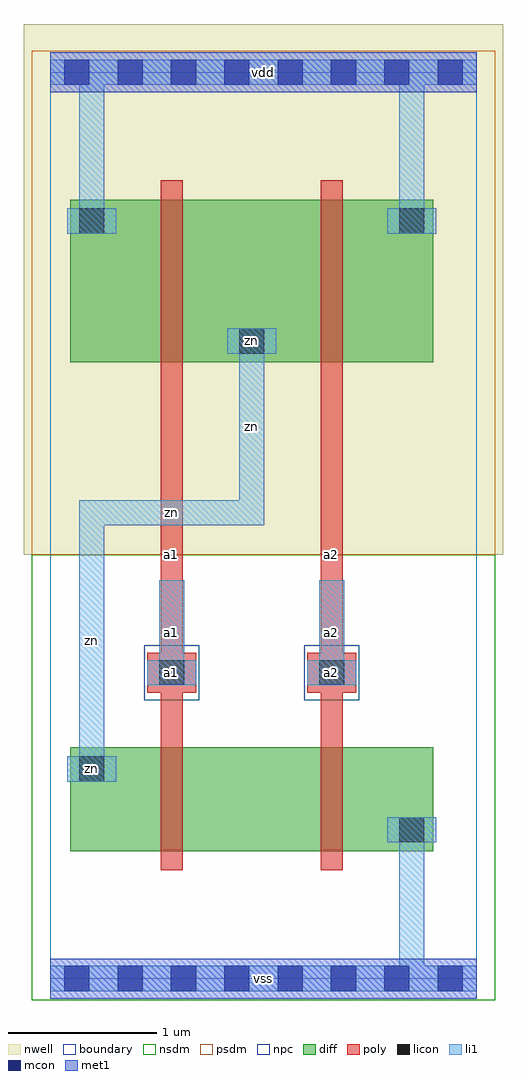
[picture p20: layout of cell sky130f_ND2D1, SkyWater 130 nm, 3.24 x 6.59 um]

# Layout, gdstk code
import gdstk
lib = gdstk.Library(unit=1e-6, precision=1e-09)
def R(c, l, rs):  # rectangles x0, y0, x1, y1
    for r in rs: c.add(gdstk.rectangle(r[:2], r[2:], *l))
def A(c, l, x, y, w, h, nx, ny, dx, dy):  # array of equal rectangles
    R(c, l, [(x+i*dx, y+j*dy, x+i*dx+w, y+j*dy+h) for i in range(nx) for j in range(ny)])
L0_0 = (0, 0)
nwell = (64, 20)
diff = (65, 20)
poly = (66, 20)
licon = (66, 44)
li1 = (67, 20)
mcon = (67, 44)
met1 = (68, 20)
nsdm = (93, 44)
psdm = (94, 20)
npc = (95, 20)
boundary = (235, 4)

sky130f_nd2d1 = lib.new_cell('sky130f_ND2D1')
R(sky130f_nd2d1, nwell, [(-0.18,2.86,3.06,6.445)])
R(sky130f_nd2d1, diff, [(0.135,0.86,1.505,1.56), (1.215,0.86,2.585,1.56), (2.295,0.86,2.585,1.15), (0.135,1.27,0.425,1.56), (0.135,4.16,1.505,5.26), (1.215,4.16,2.585,5.26), (1.215,4.16,1.505,4.45), (0.135,4.97,0.425,5.26), (2.295,4.97,2.585,5.26)])
R(sky130f_nd2d1, poly, [(0.745,0.73,0.895,1.69), (1.825,0.73,1.975,1.69), (0.745,1.34,0.895,4.38), (1.825,1.34,1.975,4.38), (0.655,1.93,0.985,2.2), (1.735,1.93,2.065,2.2), (0.745,4.03,0.895,5.39), (1.825,4.03,1.975,5.39)])
R(sky130f_nd2d1, licon, [(2.355,0.92,2.525,1.09), (0.195,1.33,0.365,1.5), (0.735,1.98,0.905,2.15), (1.815,1.98,1.985,2.15), (1.275,4.22,1.445,4.39), (0.195,5.03,0.365,5.2), (2.355,5.03,2.525,5.2)])
R(sky130f_nd2d1, li1, [(0,-0.085,2.88,0.085), (2.355,0.06,2.525,1.09), (2.275,0.92,2.605,1.09), (0.115,1.33,0.445,1.5), (0.195,1.33,0.365,3.23), (0.655,1.98,0.985,2.15), (0.735,1.98,0.905,2.69), (1.735,1.98,2.065,2.15), (1.815,1.98,1.985,2.69), (0.195,3.06,1.445,3.23), (1.275,3.06,1.445,4.39), (1.195,4.22,1.525,4.39), (0.115,5.03,0.445,5.2), (0.195,5.03,0.365,6.06), (2.275,5.03,2.605,5.2), (2.355,5.03,2.525,6.06), (0,6.035,2.88,6.205)])
A(sky130f_nd2d1, mcon, 0.095, -0.085, 0.17, 0.17, 8, 2, 0.36, 6.12)
R(sky130f_nd2d1, met1, [(0,-0.135,2.88,0.135), (0,5.985,2.88,6.255)])
R(sky130f_nd2d1, nsdm, [(-0.125,-0.145,3.005,0.145), (-0.125,0.145,3.005,2.86)])
R(sky130f_nd2d1, psdm, [(-0.125,2.86,3.005,5.975), (-0.125,5.975,3.005,6.265)])
R(sky130f_nd2d1, npc, [(0.635,1.88,1.005,2.25), (1.715,1.88,2.085,2.25)])
R(sky130f_nd2d1, boundary, [(0,0,2.88,6.12)])
sky130f_nd2d1.add(gdstk.FlexPath([(0.115,0.355),(2.605,0.355)], 0, ends="flush", simple_path=True, layer=0, datatype=0))  # L0_0
sky130f_nd2d1.add(gdstk.FlexPath([(0.115,1.005),(2.605,1.005)], 0, ends="flush", simple_path=True, layer=0, datatype=0))  # L0_0
sky130f_nd2d1.add(gdstk.FlexPath([(0.115,1.415),(2.605,1.415)], 0, ends="flush", simple_path=True, layer=0, datatype=0))  # L0_0
sky130f_nd2d1.add(gdstk.FlexPath([(0.115,2.065),(2.605,2.065)], 0, ends="flush", simple_path=True, layer=0, datatype=0))  # L0_0
sky130f_nd2d1.add(gdstk.FlexPath([(0.115,2.605),(2.605,2.605)], 0, ends="flush", simple_path=True, layer=0, datatype=0))  # L0_0
sky130f_nd2d1.add(gdstk.FlexPath([(0.115,3.145),(2.605,3.145)], 0, ends="flush", simple_path=True, layer=0, datatype=0))  # L0_0
sky130f_nd2d1.add(gdstk.FlexPath([(0.115,4.305),(2.605,4.305)], 0, ends="flush", simple_path=True, layer=0, datatype=0))  # L0_0
sky130f_nd2d1.add(gdstk.FlexPath([(0.115,4.775),(2.605,4.775)], 0, ends="flush", simple_path=True, layer=0, datatype=0))  # L0_0
sky130f_nd2d1.add(gdstk.FlexPath([(0.115,5.115),(2.605,5.115)], 0, ends="flush", simple_path=True, layer=0, datatype=0))  # L0_0
sky130f_nd2d1.add(gdstk.FlexPath([(0.115,5.765),(2.605,5.765)], 0, ends="flush", simple_path=True, layer=0, datatype=0))  # L0_0
sky130f_nd2d1.add(gdstk.FlexPath([(0.28,0.06),(0.28,6.06)], 0, ends="flush", simple_path=True, layer=0, datatype=0))  # L0_0
sky130f_nd2d1.add(gdstk.FlexPath([(0.82,0.06),(0.82,6.06)], 0, ends="flush", simple_path=True, layer=0, datatype=0))  # L0_0
sky130f_nd2d1.add(gdstk.FlexPath([(1.36,0.06),(1.36,6.06)], 0, ends="flush", simple_path=True, layer=0, datatype=0))  # L0_0
sky130f_nd2d1.add(gdstk.FlexPath([(1.9,0.06),(1.9,6.06)], 0, ends="flush", simple_path=True, layer=0, datatype=0))  # L0_0
sky130f_nd2d1.add(gdstk.FlexPath([(2.44,0.06),(2.44,6.06)], 0, ends="flush", simple_path=True, layer=0, datatype=0))  # L0_0
sky130f_nd2d1.add(gdstk.Label('zn', (0.28,1.415), layer=65, texttype=20))
sky130f_nd2d1.add(gdstk.Label('zn', (1.36,4.305), layer=65, texttype=20))
sky130f_nd2d1.add(gdstk.Label('a1', (0.82,2.86), layer=66, texttype=20))
sky130f_nd2d1.add(gdstk.Label('a1', (0.82,2.065), layer=66, texttype=20))
sky130f_nd2d1.add(gdstk.Label('a2', (1.9,2.86), layer=66, texttype=20))
sky130f_nd2d1.add(gdstk.Label('a2', (1.9,2.065), layer=66, texttype=20))
sky130f_nd2d1.add(gdstk.Label('zn', (0.28,1.415), layer=66, texttype=44))
sky130f_nd2d1.add(gdstk.Label('zn', (1.36,4.305), layer=66, texttype=44))
sky130f_nd2d1.add(gdstk.Label('a1', (0.82,2.065), layer=66, texttype=44))
sky130f_nd2d1.add(gdstk.Label('a2', (1.9,2.065), layer=66, texttype=44))
sky130f_nd2d1.add(gdstk.Label('zn', (0.28,1.415), layer=67, texttype=5))
sky130f_nd2d1.add(gdstk.Label('zn', (1.36,4.305), layer=67, texttype=5))
sky130f_nd2d1.add(gdstk.Label('zn', (0.28,2.28), layer=67, texttype=5))
sky130f_nd2d1.add(gdstk.Label('zn', (0.82,3.145), layer=67, texttype=5))
sky130f_nd2d1.add(gdstk.Label('zn', (1.36,3.725), layer=67, texttype=5))
sky130f_nd2d1.add(gdstk.Label('a1', (0.82,2.065), layer=67, texttype=5))
sky130f_nd2d1.add(gdstk.Label('a1', (0.82,2.335), layer=67, texttype=5))
sky130f_nd2d1.add(gdstk.Label('a2', (1.9,2.065), layer=67, texttype=5))
sky130f_nd2d1.add(gdstk.Label('a2', (1.9,2.335), layer=67, texttype=5))
sky130f_nd2d1.add(gdstk.Label('vss', (1.44,0), layer=67, texttype=5))
sky130f_nd2d1.add(gdstk.Label('vdd', (1.44,6.12), layer=67, texttype=5))
sky130f_nd2d1.add(gdstk.Label('vss', (1.44,0), layer=68, texttype=5))
sky130f_nd2d1.add(gdstk.Label('vdd', (1.44,6.12), layer=68, texttype=5))

lib.write_gds('sky130f_ND2D1.gds')
